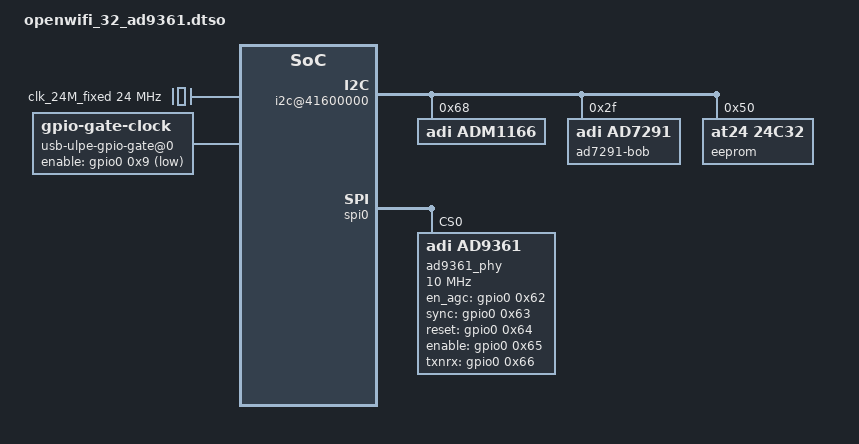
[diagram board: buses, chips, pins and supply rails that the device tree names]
/dts-v1/;
/plugin/;

/ {
	// Insert clocks
	fragment@0 {
		target-path = "/";
		__overlay__{
			clocks: clocks {
				clk_24M_fixed: clock@2 {
					#clock-cells = <0>;
					compatible = "fixed-clock";
					clock-frequency = <24000000>;
					clock-output-names = "24MHz";
				};
			};
		};
	};

	// Ensure that fabric clocks are enabled, for some reason, zynq-7000.dtsi of Linux kernel turns this off (U-Boot does not)
    fragment@1{
        target = <&clkc>;
        __overlay__{
            fclk-enable = <0xf>;
        };
    };

	// Set default interrupt parent
	fragment@2{
		target-path = "/";
		__overlay__{
			interrupt-parent = <&intc>;
		};
	};

	
	// Insert axi devices in fpga
	fragment@3{
		target-path = "/";
		__overlay__{
			fpga-axi@0 {
				compatible = "simple-bus";
				#address-cells = <1>;
				#size-cells = <1>;
				ranges;

				i2c@41600000 {
					compatible = "xlnx,axi-iic-1.02.a", "xlnx,xps-iic-2.00.a";
					reg = <0x41600000 0x10000>;
					interrupt-parent = <&intc>;
					interrupts = <0x0 0x3a 0x4>;
					clocks = <&clkc 0xf>;
					clock-names = "pclk";
					#address-cells = <1>;
					#size-cells = <0>;

					adm1166@68 {
						compatible = "adi,adm1166";
						reg = <0x68>;
					};

					ad7291-bob@2f {
						compatible = "adi,ad7291";
						reg = <0x2f>;
					};

					eeprom@50 {
						compatible = "at24,24c32";
						reg = <0x50>;
					};
				};

				sdr: sdr {
					compatible ="sdr,sdr";
					dmas = <&rx_dma 1
							&tx_dma 0>;
					dma-names = "rx_dma_s2mm", "tx_dma_mm2s";
					interrupt-names = "not_valid_anymore", "rx_pkt_intr", "tx_itrpt";
					interrupt-parent = <&intc>;
					interrupts = <0 29 1>, <0 30 1>, <0 33 1>, <0 34 1>;
				} ;

				axidmatest_1: axidmatest@1 {
					compatible ="xlnx,axi-dma-test-1.00.a";
					dmas = <&rx_dma 0 &rx_dma 1>;
					dma-names = "axidma0", "axidma1";
				};

				tx_dma: dma@80400000 {
					#dma-cells = <1>;
					clock-names = "s_axi_lite_aclk", "m_axi_sg_aclk", "m_axi_mm2s_aclk", "m_axi_s2mm_aclk";
					clocks = <&clkc 0x11>, <&clkc 0x11>, <&clkc 0x11>, <&clkc 0x11>;
					compatible = "xlnx,axi-dma-1.00.a";
					interrupt-names = "mm2s_introut", "s2mm_introut";
					interrupt-parent = <&intc>;
					interrupts = <0 35 4>, <0 36 4>;
					reg = <0x80400000 0x10000>;
					xlnx,addrwidth = <0x20>;
					xlnx,include-sg ;
					xlnx,sg-length-width = <0xe>;
					dma-channel@80400000 {
						compatible = "xlnx,axi-dma-mm2s-channel";
						dma-channels = <1>;
						interrupts = <0 35 4>;
						xlnx,datawidth = <0x40>;
						xlnx,device-id = <0x0>;
					};
					dma-channel@80400030 {
						compatible = "xlnx,axi-dma-s2mm-channel";
						dma-channels = <1>;
						interrupts = <0 36 4>;
						xlnx,datawidth = <0x40>;
						xlnx,device-id = <0x0>;
					};
				};
				
				rx_dma: dma@80410000 {
					#dma-cells = <1>;
					clock-names = "s_axi_lite_aclk", "m_axi_sg_aclk", "m_axi_mm2s_aclk", "m_axi_s2mm_aclk";
					clocks = <&clkc 0x11>, <&clkc 0x11>, <&clkc 0x11>, <&clkc 0x11>;
					compatible = "xlnx,axi-dma-1.00.a";
					//dma-coherent ;
					interrupt-names = "mm2s_introut", "s2mm_introut";
					interrupt-parent = <&intc>;
					interrupts = <0 31 4>, <0 32 4>;
					reg = <0x80410000 0x10000>;
					xlnx,addrwidth = <0x20>;
					xlnx,include-sg ;
					xlnx,sg-length-width = <0xe>;
					dma-channel@80410000 {
						compatible = "xlnx,axi-dma-mm2s-channel";
						dma-channels = <0x1>;
						interrupts = <0 31 4>;
						xlnx,datawidth = <0x40>;
						xlnx,device-id = <0x1>;
					};
					dma-channel@80410030 {
						compatible = "xlnx,axi-dma-s2mm-channel";
						dma-channels = <0x1>;
						interrupts = <0 32 4>;
						xlnx,datawidth = <0x40>;
						xlnx,device-id = <0x1>;
					};
				};

				tx_intf_0: tx_intf@83c00000 {
					clock-names = "s00_axi_aclk", "s00_axis_aclk";//, "s01_axis_aclk", "m00_axis_aclk";
					clocks = <&clkc 0x11>, <&clkc 0x11>;//, <&clkc 0x11>, <&clkc 0x11>;
					compatible = "sdr,tx_intf";
					interrupt-names = "tx_itrpt";
					interrupt-parent = <&intc>;
					interrupts = <0 34 1>;
					reg = <0x83c00000 0x10000>;
					xlnx,s00-axi-addr-width = <0x7>;
					xlnx,s00-axi-data-width = <0x20>;
				};

				rx_intf_0: rx_intf@83c20000 {
					clock-names = "s00_axi_aclk", "m00_axis_aclk";//, "s00_axis_aclk";
					clocks = <&clkc 0x11>, <&clkc 0x11>;//, <&clkc 0x11>;
					compatible = "sdr,rx_intf";
					interrupt-names = "not_valid_anymore", "rx_pkt_intr";
					interrupt-parent = <&intc>;
					interrupts = <0 29 1>, <0 30 1>;
					reg = <0x83c20000 0x10000>;
					xlnx,s00-axi-addr-width = <0x7>;
					xlnx,s00-axi-data-width = <0x20>;
				};

				openofdm_tx_0: openofdm_tx@83c10000 {
					clock-names = "clk";
					clocks = <&clkc 0x11>;
					compatible = "sdr,openofdm_tx";
					reg = <0x83c10000 0x10000>;
				};

				openofdm_rx_0: openofdm_rx@83c30000 {
					clock-names = "clk";
					clocks = <&clkc 0x11>;
					compatible = "sdr,openofdm_rx";
					reg = <0x83c30000 0x10000>;
				};

				xpu_0: xpu@83c40000 {
					clock-names = "s00_axi_aclk";
					clocks = <&clkc 0x11>;
					compatible = "sdr,xpu";
					reg = <0x83c40000 0x10000>;
				};

				side_ch_0: side_ch@83c50000 {
					clock-names = "s00_axi_aclk";
					clocks = <&clkc 0x11>;
					compatible = "sdr,side_ch";
					reg = <0x83c50000 0x10000>;
					dmas = <&rx_dma 0
							&tx_dma 1>;
					dma-names = "rx_dma_mm2s", "tx_dma_s2mm";
				};

				cf-ad9361-lpc@79020000 {
					compatible = "adi,axi-ad9361-6.00.a";
					reg = <0x79020000 0x6000>;
					// dmas = <0xb 0x0>;
					// dma-names = "rx";
					spibus-connected = <&ad9361_phy>;
				};

				cf-ad9361-dds-core-lpc@79024000 {
					compatible = "adi,axi-ad9361-dds-6.00.a";
					reg = <0x79024000 0x1000>;
					clocks = <&ad9361_phy 0xd>;
					clock-names = "sampl_clk";
					// dmas = <0xd 0x0>;
					// dma-names = "tx";
				};

				mwipcore@43c00000 {
					compatible = "mathworks,mwipcore-axi4lite-v1.00";
					reg = <0x43c00000 0xffff>;
				};
			};
		};
	};

	
	// Insert AD9361 SPI device and other changes to amba bus
	fragment@4{
		target-path = "/axi";
		__overlay__{
			#address-cells = <1>;
			#size-cells = <1>;
			ocmc@f800c000 {
				compatible = "xlnx,zynq-ocmc-1.0";
				interrupt-parent = <&intc>;
				interrupts = <0x0 0x3 0x4>;
				reg = <0xf800c000 0x1000>;
			};

			spi0: spi@e0006000 {
				status = "okay";
				#address-cells = <1>;
				#size-cells = <0>;

				ad9361_phy: ad9361-phy@0 {
					#address-cells = <1>;
					#size-cells = <0>;
					#clock-cells = <1>;
					compatible = "adi,ad9361";
					reg = <0x0>;
					spi-cpha;
					spi-max-frequency = <10000000>;
					clock-names = "ad9361_ext_refclk";
					clock-output-names = "rx_sampl_clk", "tx_sampl_clk";
					adi,digital-interface-tune-skip-mode = <0x0>;
					adi,pp-tx-swap-enable;
					adi,pp-rx-swap-enable;
					adi,rx-frame-pulse-mode-enable;
					adi,lvds-mode-enable;
					adi,lvds-bias-mV = <0x96>;
					adi,lvds-rx-onchip-termination-enable;
					adi,rx-data-delay = <0x4>;
					adi,tx-fb-clock-delay = <0x7>;
					adi,2rx-2tx-mode-enable;
					adi,frequency-division-duplex-mode-enable;
					adi,rx-rf-port-input-select = <0x0>;
					adi,tx-rf-port-input-select = <0x0>;
					adi,tx-attenuation-mdB = <0x2710>;
					adi,tx-lo-powerdown-managed-enable;
					adi,rf-rx-bandwidth-hz = <0x112a880>;
					adi,rf-tx-bandwidth-hz = <0x112a880>;
					adi,rx-synthesizer-frequency-hz = <0x0 0x8f0d1800>;
					adi,tx-synthesizer-frequency-hz = <0x0 0x92080880>;
					adi,rx-path-clock-frequencies = <0x3a980000 0xea60000 0x7530000 0x3a98000 0x1d4c000 0x1d4c000>;
					adi,tx-path-clock-frequencies = <0x3a980000 0x7530000 0x7530000 0x3a98000 0x1d4c000 0x1d4c000>;
					adi,gc-rx1-mode = <0x2>;
					adi,gc-rx2-mode = <0x2>;
					adi,gc-adc-ovr-sample-size = <0x4>;
					adi,gc-adc-small-overload-thresh = <0x2f>;
					adi,gc-adc-large-overload-thresh = <0x3a>;
					adi,gc-lmt-overload-high-thresh = <0x320>;
					adi,gc-lmt-overload-low-thresh = <0x2c0>;
					adi,gc-dec-pow-measurement-duration = <0x2000>;
					adi,gc-low-power-thresh = <0x18>;
					adi,mgc-inc-gain-step = <0x2>;
					adi,mgc-dec-gain-step = <0x2>;
					adi,mgc-split-table-ctrl-inp-gain-mode = <0x0>;
					adi,agc-attack-delay-extra-margin-us = <0x1>;
					adi,agc-outer-thresh-high = <0x5>;
					adi,agc-outer-thresh-high-dec-steps = <0x2>;
					adi,agc-inner-thresh-high = <0xa>;
					adi,agc-inner-thresh-high-dec-steps = <0x1>;
					adi,agc-inner-thresh-low = <0xc>;
					adi,agc-inner-thresh-low-inc-steps = <0x1>;
					adi,agc-outer-thresh-low = <0x12>;
					adi,agc-outer-thresh-low-inc-steps = <0x2>;
					adi,agc-adc-small-overload-exceed-counter = <0xa>;
					adi,agc-adc-large-overload-exceed-counter = <0xa>;
					adi,agc-adc-large-overload-inc-steps = <0x7>;
					adi,agc-lmt-overload-large-exceed-counter = <0xa>;
					adi,agc-lmt-overload-small-exceed-counter = <0xa>;
					adi,agc-lmt-overload-large-inc-steps = <0x7>;
					adi,agc-gain-update-interval-us = <0x3e8>;
					adi,fagc-dec-pow-measurement-duration = <0x10>;
			adi,fagc-adc-large-overload-inc-steps = <0x07>;
					adi,fagc-lp-thresh-increment-steps = <0x1>;
					adi,fagc-lp-thresh-increment-time = <0x5>;
					adi,fagc-energy-lost-stronger-sig-gain-lock-exit-cnt = <0x8>;
			adi,fagc-dig-sat-ovrg-enable;
					adi,fagc-final-overrange-count = <0x3>;
					adi,fagc-gain-index-type-after-exit-rx-mode = <0x0>;
					adi,fagc-lmt-final-settling-steps = <0x1>;
					adi,fagc-lock-level = <0xa>;
					adi,fagc-lock-level-gain-increase-upper-limit = <0x5>;
					adi,fagc-lock-level-lmt-gain-increase-enable;
					adi,fagc-lpf-final-settling-steps = <0x1>;
					adi,fagc-optimized-gain-offset = <0x5>;
					adi,fagc-power-measurement-duration-in-state5 = <0x10>;
					adi,fagc-rst-gla-engergy-lost-goto-optim-gain-enable;
					adi,fagc-rst-gla-engergy-lost-sig-thresh-below-ll = <0xa>;
					adi,fagc-rst-gla-if-en-agc-pulled-high-mode = <0x0>;
					adi,fagc-rst-gla-large-adc-overload-enable;
					adi,fagc-rst-gla-large-lmt-overload-enable;
					adi,fagc-rst-gla-stronger-sig-thresh-above-ll = <0xa>;
					adi,fagc-state-wait-time-ns = <0x104>;
					adi,fagc-use-last-lock-level-for-set-gain-enable;
					adi,rssi-restart-mode = <0x3>;
					adi,rssi-delay = <0x1>;
					adi,rssi-wait = <0x1>;
					adi,rssi-duration = <0x3e8>;
					adi,ctrl-outs-index = <0x0>;
					adi,ctrl-outs-enable-mask = <0xff>;
					adi,temp-sense-measurement-interval-ms = <0x3e8>;
					adi,temp-sense-offset-signed = <0xce>;
					adi,temp-sense-periodic-measurement-enable;
					adi,aux-dac-manual-mode-enable;
					adi,aux-dac1-default-value-mV = <0x0>;
					adi,aux-dac1-rx-delay-us = <0x0>;
					adi,aux-dac1-tx-delay-us = <0x0>;
					adi,aux-dac2-default-value-mV = <0x0>;
					adi,aux-dac2-rx-delay-us = <0x0>;
					adi,aux-dac2-tx-delay-us = <0x0>;
					en_agc-gpios = <&gpio0 0x62 0x0>;
					sync-gpios = <&gpio0 0x63 0x0>;
					reset-gpios = <&gpio0 0x64 0x0>;
					enable-gpios = <&gpio0 0x65 0x0>;
					txnrx-gpios = <&gpio0 0x66 0x0>;
				};
			};

			sdhci0: mmc@e0100000 {
				disable-wp;
			};

			usb0: usb@e0002000 {
				xlnx,phy-reset-gpio = <0x6 0x7 0x0>;
			};
		};
	};
	
	// Insert gpio gated clocks
	fragment@5{
		target-path = "/";
		__overlay__{
			usb-ulpe-gpio-gate@0 {
				#clock-cells = <0>;
				compatible = "gpio-gate-clock";
				clocks = <&clk_24M_fixed>;
				enable-gpios = <&gpio0 0x9 0x1>;
			};
		};
	};
};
